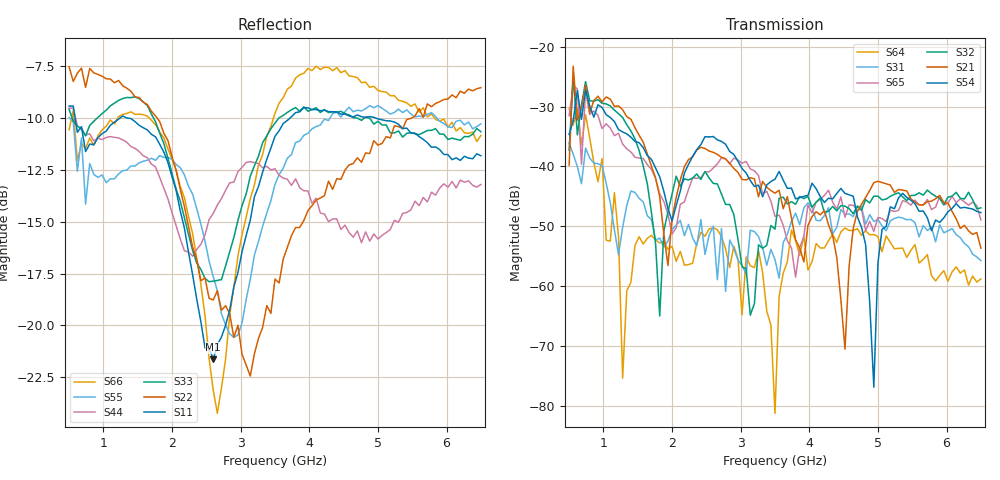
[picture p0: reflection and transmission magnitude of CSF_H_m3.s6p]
!Keysight Technologies,M9804A,MY58100912,A.14.10.03
!Date: Thursday, April 27, 2023 10:28:33
!Correction: S11(C  6-Port  )
!S12(C  6-Port  )
!S13(C  6-Port  )
!S14(C  6-Port  )
!S15(C  6-Port  )
!S16(C  6-Port  )
!S21(C  6-Port  )
!S22(C  6-Port  )
!S23(C  6-Port  )
!S24(C  6-Port  )
!S25(C  6-Port  )
!S26(C  6-Port  )
!S31(C  6-Port  )
!S32(C  6-Port  )
!S33(C  6-Port  )
!S34(C  6-Port  )
!S35(C  6-Port  )
!S36(C  6-Port  )
!S41(C  6-Port  )
!S42(C  6-Port  )
!S43(C  6-Port  )
!S44(C  6-Port  )
!S45(C  6-Port  )
!S46(C  6-Port  )
!S51(C  6-Port  )
!S52(C  6-Port  )
!S53(C  6-Port  )
!S54(C  6-Port  )
!S55(C  6-Port  )
!S56(C  6-Port  )
!S61(C  6-Port  )
!S62(C  6-Port  )
!S63(C  6-Port  )
!S64(C  6-Port  )
!S65(C  6-Port  )
!S66(C  6-Port  )
!S6P File: Measurement: :
# Hz S  RI  R 50
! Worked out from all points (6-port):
!   101 points, 500 MHz to 6.5 GHz, reference 50 ohm
!   strongest paths, dB at 500 MHz, 2 GHz, 3.5 GHz, 5 GHz, 6.5 GHz:
!     S54: -34.6, -49.1, -42.1, -56.1, -47.7
!     S21: -39.8, -48.7, -44.5, -42.5, -53.7
!     S32: -37.3, -44.6, -50.5, -45.0, -46.9
!     S65: -31.5, -51.3, -48.4, -48.5, -48.9
!     S31: -36.1, -50.5, -55.6, -48.9, -55.7
!     S64: -30.3, -53.4, -81.3, -51.7, -58.8
!   lowest |S11| = -21.6 dB at 2.6 GHz (marker M1), VSWR 1.18, Z = 42.6 + j2.04 ohm
!   |S11| at or under -10 dB: 587.8 MHz to 1.239 GHz (651.2 MHz wide, 71.3 % of centre); 1.366 GHz to 3.716 GHz (2.35 GHz wide, 92.5 % of centre); 4.973 GHz to end of sweep
